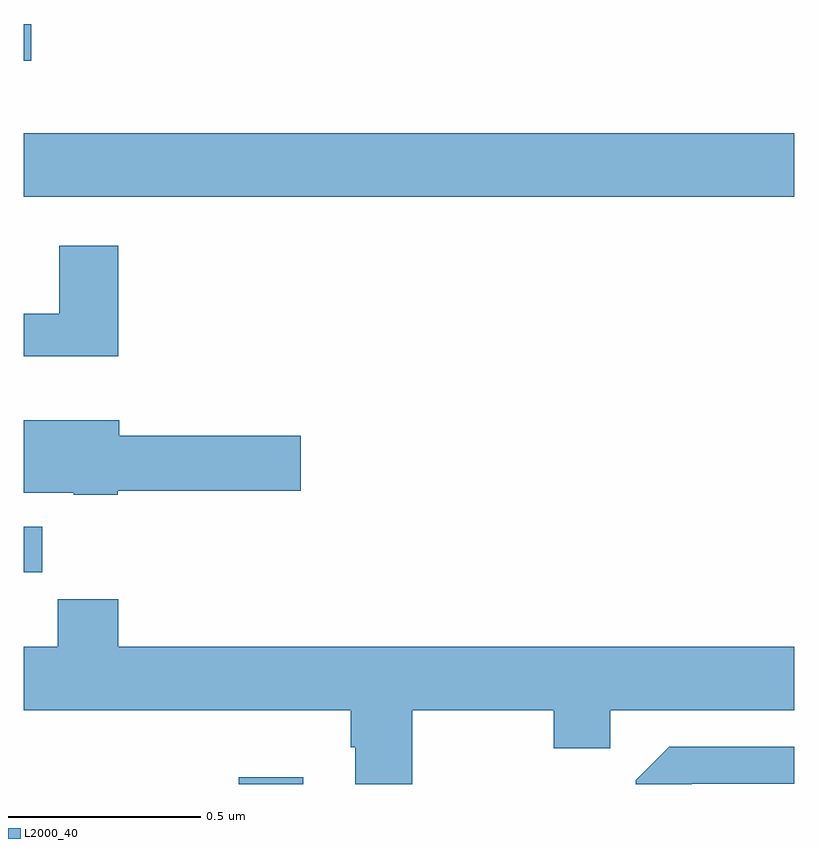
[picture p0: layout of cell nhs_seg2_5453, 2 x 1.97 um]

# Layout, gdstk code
import gdstk
lib = gdstk.Library(unit=1e-6, precision=1e-09)
def R(c, l, rs):  # rectangles x0, y0, x1, y1
    for r in rs: c.add(gdstk.rectangle(r[:2], r[2:], *l))
def P(c, l, *ps):  # polygons
    for p in ps: c.add(gdstk.Polygon(p, *l))
L2000_40 = (2000, 40)

nhs_seg2_5453 = lib.new_cell('nhs_seg2_5453')
R(nhs_seg2_5453, L2000_40, [(179.558,624.8,179.725,624.817), (179,625.35,179.048,625.468), (179,626.324,181,626.488), (179,626.676,179.02,626.772)])
P(nhs_seg2_5453, L2000_40, [(179.246,626.197),(179.093,626.197),(179.093,626.02),(179,626.02),(179,625.91),(179.246,625.91)],
  [(179.244,625.561),(179.719,625.561),(179.719,625.703),(179.248,625.703),(179.248,625.744),(179,625.744),(179,625.556),(179.13,625.556),(179.13,625.55),(179.244,625.55)],
  [(179.246,625.28),(179.089,625.28),(179.089,625.156),(179,625.156),(179,624.992),(179.849,624.992),(179.849,624.896),(179.861,624.896),(179.861,624.8),(180.009,624.8),(180.009,624.992),(180.376,624.992),(180.376,624.893),(180.522,624.893),(180.522,624.992),(181,624.992),(181,625.156),(179.246,625.156)],
  [(180.735,624.801),(181,624.801),(181,624.897),(180.675,624.897),(180.588,624.81),(180.588,624.8),(180.734,624.8)])

lib.write_gds('nhs_seg2_5453.gds')
